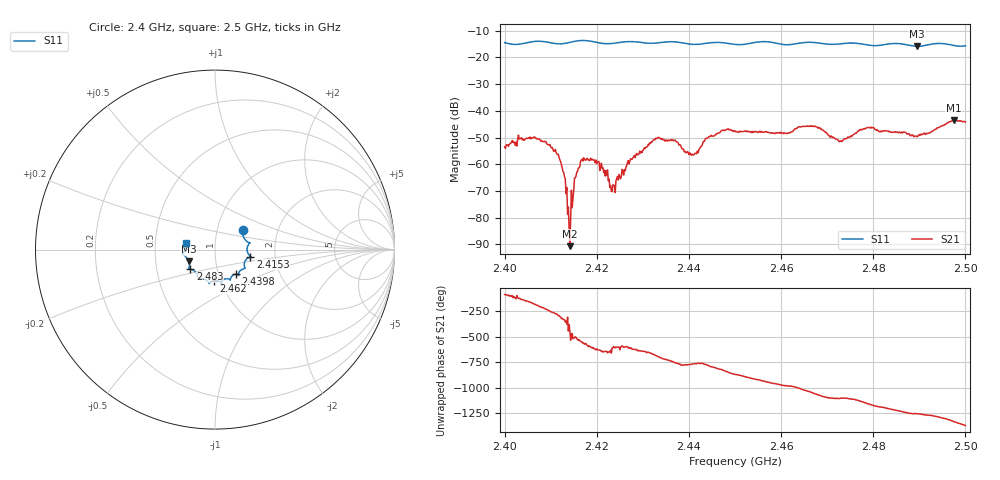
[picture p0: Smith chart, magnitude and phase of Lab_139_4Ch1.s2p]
# Hz S RI R 50
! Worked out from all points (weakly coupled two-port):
!   601 points, 2.4 GHz to 2.5 GHz, reference 50 ohm
!   highest |S21| = -43.51 dB at 2.4975 GHz (marker M1); lowest = -90.7 dB at 2.4142 GHz (marker M2)
!   lowest |S11| = -15.9 dB at 2.4895 GHz (marker M3), VSWR 1.38, Z = 36.9 - j4.99 ohm
!   |S11| at or under -10 dB: start of sweep to end of sweep
!   S12 and S22 are empty: the file has one direction only
!   S11 on the Smith chart (normalised r, x): 2.4 GHz: 1.33, +0.29; 2.4153 GHz: 1.48, -0.12; 2.4398 GHz: 1.21, -0.34; 2.462 GHz: 0.93, -0.33; 2.483 GHz: 0.74, -0.17; 2.5 GHz: 0.72, +0.06
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2.4e9  0.155 0.1068  0.000178 -0.0021  0 0  0 0
2.406e9  0.192 0.0384  -0.00305 -0.000515  0 0  0 0
2.41e9  0.1856 0.026  -0.00058 0.00201  0 0  0 0
2.412167e9  0.1786 -0.00286  0.00067 0.000906  0 0  0 0
2.414167e9  0.1886 -0.0292  2.84e-06 -2.92e-05  0 0  0 0
2.415333e9  0.1964 -0.0387  -0.000418 -0.000373  0 0  0 0
2.416667e9  0.2021 -0.0426  -0.00119 0.000203  0 0  0 0
2.42e9  0.1847 -0.0459  -0.000228 0.000999  0 0  0 0
2.4235e9  0.1629 -0.082  -0.000178 0.000375  0 0  0 0
2.427167e9  0.1681 -0.1027  -0.000496 0.001  0 0  0 0
2.433333e9  0.1308 -0.1337  0.00287 0.0014  0 0  0 0
2.439833e9  0.1154 -0.1364  0.00101 -0.00132  0 0  0 0
2.45e9  0.0646 -0.1624  -0.00357 -0.00221  0 0  0 0
2.462e9  -0.00513 -0.1733  -0.000474 0.00384  0 0  0 0
2.466667e9  -0.0342 -0.1876  0.00423 0.00287  0 0  0 0
2.472833e9  -0.0785 -0.1603  0.00257 -0.000971  0 0  0 0
2.4785e9  -0.1007 -0.1394  0.00178 -0.00442  0 0  0 0
2.483e9  -0.1377 -0.1096  -0.0021 -0.00364  0 0  0 0
2.483333e9  -0.1402 -0.1094  -0.00222 -0.00352  0 0  0 0
2.4895e9  -0.1465 -0.0658  -0.00326 -0.000383  0 0  0 0
2.4975e9  -0.1665 -0.000858  -0.00232 0.00626  0 0  0 0
2.5e9  -0.1598 0.0393  0.00187 0.00588  0 0  0 0
